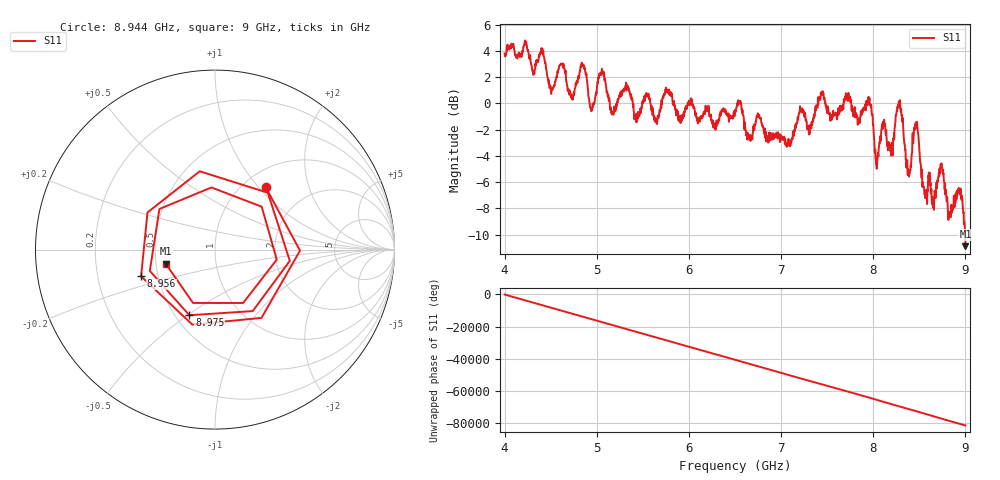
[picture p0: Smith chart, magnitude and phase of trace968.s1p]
! Created with skrf 1.8.0 (http://scikit-rf.org).
# Hz S RI R 50.0
!freq ReS11 ImS11
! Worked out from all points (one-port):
!   1601 points, 4 GHz to 9 GHz, reference 50 ohm
!   lowest |S11| = -10.9 dB at 9 GHz (marker M1), VSWR 1.80, Z = 28.1 - j4.79 ohm
!   |S11| at or under -10 dB: 8.997424 GHz to end of sweep
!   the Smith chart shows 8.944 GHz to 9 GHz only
!   S11 on the Smith chart (normalised r, x): 8.944 GHz: 1.25, +1.09; 8.956 GHz: 0.40, -0.15; 8.975 GHz: 0.59, -0.51; 9 GHz: 0.56, -0.10
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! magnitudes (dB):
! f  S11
! 4 GHz  3.8
! 4.406 GHz  4.2
! 4.509 GHz  1.2
! 4.625 GHz  3.0
! 4.728 GHz  0.5
! 4.85 GHz  3.0
! 4.947 GHz  -0.5
! 5.053 GHz  2.5
! 5.169 GHz  -0.7
! 5.25 GHz  0.5
! 5.875 GHz  -0.8
! 6.5 GHz  -0.8
! 7.125 GHz  -2.7
! 7.434 GHz  0.6
! 7.75 GHz  0.5
! 7.956 GHz  0.3
! 8.041 GHz  -4.7
! 8.197 GHz  -3.8
! 8.288 GHz  -0.3
! 8.375 GHz  -5.5
! 8.466 GHz  -1.4
! 8.559 GHz  -6.9
! 8.738 GHz  -4.7
! 8.831 GHz  -8.4
! 8.944 GHz  -7.0
! 8.956 GHz  -7.2
! 8.975 GHz  -8.1
! 9 GHz  -10.9
